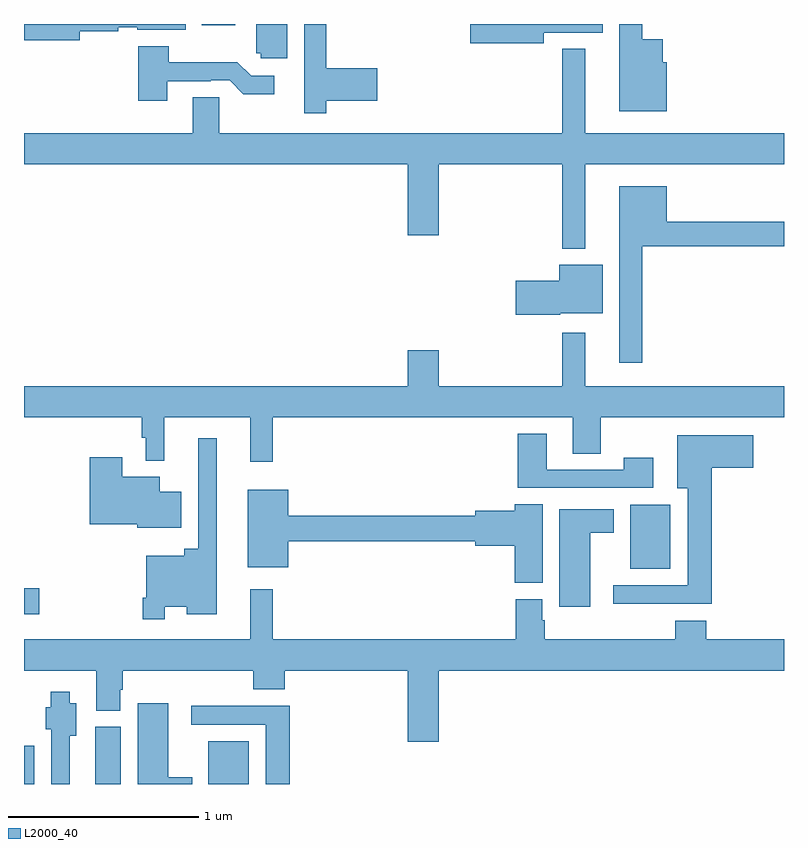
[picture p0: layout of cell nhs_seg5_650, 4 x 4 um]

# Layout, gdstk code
import gdstk
lib = gdstk.Library(unit=1e-6, precision=1e-09)
def R(c, l, rs):  # rectangles x0, y0, x1, y1
    for r in rs: c.add(gdstk.rectangle(r[:2], r[2:], *l))
def P(c, l, *ps):  # polygons
    for p in ps: c.add(gdstk.Polygon(p, *l))
L2000_40 = (2000, 40)

nhs_seg5_650 = lib.new_cell('nhs_seg5_650')
R(nhs_seg5_650, L2000_40, [(151,886.799,151.054,887.001), (151.376,886.799,151.51,887.1), (151.97,886.799,152.182,887.023), (151,887.693,151.081,887.828), (154.19,887.933,154.402,888.268), (151.935,890.792,152.113,890.799)])
P(nhs_seg5_650, L2000_40, [(153.736,890.753),(154.045,890.753),(154.045,890.799),(153.348,890.799),(153.348,890.698),(153.736,890.698)],
  [(152.386,890.799),(152.222,890.799),(152.222,890.646),(152.247,890.646),(152.247,890.619),(152.386,890.619)],
  [(151.294,890.761),(151.496,890.761),(151.496,890.781),(151.596,890.781),(151.596,890.768),(151.85,890.768),(151.85,890.799),(151,890.799),(151,890.714),(151.294,890.714)],
  [(154.384,890.598),(154.363,890.598),(154.363,890.719),(154.255,890.719),(154.255,890.799),(154.133,890.799),(154.133,890.339),(154.384,890.339)],
  [(152.591,890.396),(152.86,890.396),(152.86,890.567),(152.591,890.567),(152.591,890.799),(152.475,890.799),(152.475,890.55),(152.474,890.55),(152.474,890.328),(152.591,890.328)],
  [(151.753,890.499),(151.982,890.499),(151.982,890.502),(152.082,890.502),(152.155,890.429),(152.317,890.429),(152.317,890.526),(152.196,890.526),(152.123,890.599),(151.761,890.599),(151.761,890.683),(151.601,890.683),(151.601,890.394),(151.753,890.394)],
  [(153.955,890.06),(155,890.06),(155,890.224),(153.955,890.224),(153.955,890.668),(153.834,890.668),(153.834,890.224),(152.028,890.224),(152.028,890.414),(151.889,890.414),(151.889,890.224),(151,890.224),(151,890.06),(153.02,890.06),(153.02,889.686),(153.184,889.686),(153.184,890.06),(153.834,890.06),(153.834,889.616),(153.955,889.616)],
  [(154.255,889.63),(155,889.63),(155,889.759),(154.384,889.759),(154.384,889.945),(154.133,889.945),(154.133,889.017),(154.255,889.017)],
  [(153.822,889.277),(154.045,889.277),(154.045,889.531),(153.818,889.531),(153.818,889.448),(153.588,889.448),(153.588,889.27),(153.822,889.27)],
  [(152.309,888.728),(153.887,888.728),(153.887,888.538),(154.035,888.538),(154.035,888.728),(155,888.728),(155,888.892),(153.955,888.892),(153.955,889.174),(153.834,889.174),(153.834,888.892),(153.184,888.892),(153.184,889.081),(153.02,889.081),(153.02,888.892),(151,888.892),(151,888.728),(151.621,888.728),(151.621,888.621),(151.641,888.621),(151.641,888.5),(151.739,888.5),(151.739,888.728),(152.192,888.728),(152.192,888.495),(152.309,888.495)],
  [(154.312,888.517),(154.156,888.517),(154.156,888.453),(153.751,888.453),(153.751,888.643),(153.599,888.643),(153.599,888.357),(154.312,888.357)],
  [(154.619,888.464),(154.837,888.464),(154.837,888.634),(154.439,888.634),(154.439,888.356),(154.493,888.356),(154.493,887.844),(154.101,887.844),(154.101,887.747),(154.619,887.747)],
  [(151.74,887.732),(151.856,887.732),(151.856,887.693),(152.014,887.693),(152.014,888.619),(151.917,888.619),(151.917,888.037),(151.844,888.037),(151.844,888.001),(151.644,888.001),(151.644,887.779),(151.624,887.779),(151.624,887.667),(151.74,887.667)],
  [(151.828,888.337),(151.714,888.337),(151.714,888.415),(151.516,888.415),(151.516,888.52),(151.346,888.52),(151.346,888.167),(151.596,888.167),(151.596,888.149),(151.828,888.149)],
  [(153.73,888.272),(153.584,888.272),(153.584,888.236),(153.374,888.236),(153.374,888.212),(152.392,888.212),(152.392,888.349),(152.177,888.349),(152.177,887.939),(152.392,887.939),(152.392,888.076),(153.374,888.076),(153.374,888.053),(153.584,888.053),(153.584,887.857),(153.73,887.857)],
  [(153.979,888.122),(154.105,888.122),(154.105,888.244),(153.818,888.244),(153.818,887.732),(153.979,887.732)],
  [(153.184,887.396),(155,887.396),(155,887.56),(154.592,887.56),(154.592,887.659),(154.427,887.659),(154.427,887.56),(153.74,887.56),(153.74,887.661),(153.727,887.661),(153.727,887.772),(153.587,887.772),(153.587,887.56),(152.309,887.56),(152.309,887.824),(152.192,887.824),(152.192,887.56),(151,887.56),(151,887.396),(151.379,887.396),(151.379,887.185),(151.507,887.185),(151.507,887.295),(151.52,887.295),(151.52,887.396),(152.207,887.396),(152.207,887.297),(152.372,887.297),(152.372,887.396),(153.02,887.396),(153.02,887.022),(153.184,887.022)],
  [(151.24,887.054),(151.276,887.054),(151.276,887.224),(151.24,887.224),(151.24,887.284),(151.142,887.284),(151.142,887.202),(151.115,887.202),(151.115,887.088),(151.143,887.088),(151.143,886.799),(151.24,886.799)],
  [(151.885,886.834),(151.759,886.834),(151.759,887.224),(151.598,887.224),(151.598,886.799),(151.885,886.799)],
  [(152.399,887.21),(151.881,887.21),(151.881,887.112),(152.273,887.112),(152.273,886.799),(152.399,886.799)])

lib.write_gds('nhs_seg5_650.gds')
